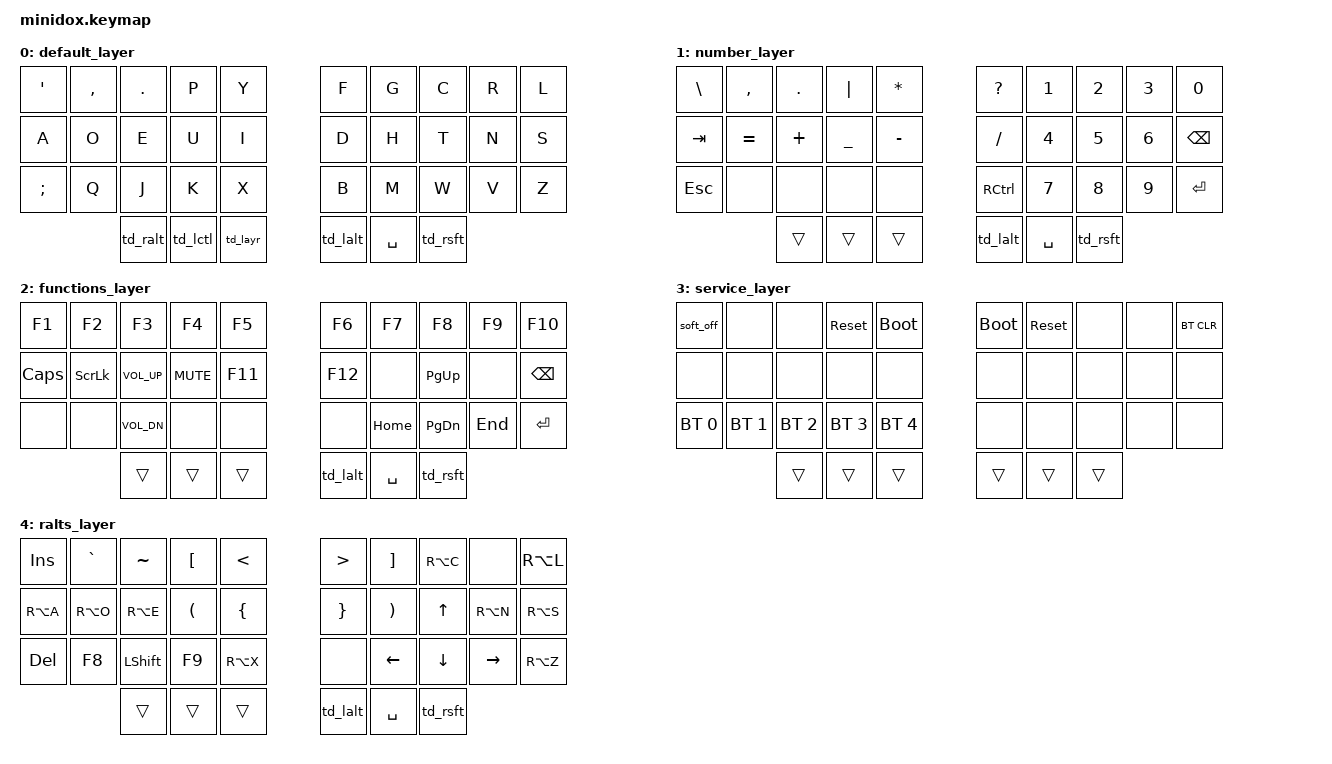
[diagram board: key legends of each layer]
/*
 * Copyright (c) 2025 pickme467
 *
 * SPDX-License-Identifier: MIT
 */

#include <behaviors.dtsi>
#include <dt-bindings/zmk/keys.h>
#include <dt-bindings/zmk/bt.h>

&soft_off {
        hold-time-ms = <200>;
};

/ {
        macros {
                lm: lm {
                   compatible = "zmk,behavior-macro-two-param";
                   wait-ms = <0>;
                   tap-ms = <0>;
                   #binding-cells = <2>;
                   bindings
                       = <&macro_param_1to1>
                       , <&macro_press &mo MACRO_PLACEHOLDER>
                       , <&macro_param_2to1>
                       , <&macro_press &kp MACRO_PLACEHOLDER>
                       , <&macro_pause_for_release>
                       , <&macro_param_2to1>
                       , <&macro_release &kp MACRO_PLACEHOLDER>
                       , <&macro_param_1to1>
                       , <&macro_release &mo MACRO_PLACEHOLDER>
                       ;
               };
        };

        behaviors {
                td_layr: tap_dance_0 {
                   compatible = "zmk,behavior-tap-dance";
                   #binding-cells = <0>;
                   tapping-term-ms = <277>;
                   bindings = <&mo 1>, <&mo 2>, <&mo 3>;
                };
                td_lctl: tap_dance_1 {
                   compatible = "zmk,behavior-tap-dance";
                   #binding-cells = <0>;
                   tapping-term-ms = <247>;
                   bindings = <&kp LCTL>, <&lm 1 LCTL>, <&lm 2 LCTL>, <&lm 3 LCTL>;
                };
                td_ralt: tap_dance_2 {
                   compatible = "zmk,behavior-tap-dance";
                   #binding-cells = <0>;
                   tapping-term-ms = <247>;
                   bindings = <&mo 4>, <&lm 4 LCTL>, <&kp LGUI>;
                };
                td_lalt: tap_dance_3 {
                   compatible = "zmk,behavior-tap-dance";
                   #binding-cells = <0>;
                   tapping-term-ms = <247>;
                   bindings = <&kp LALT>, <&kp LA(RSHFT)>, <&kp LA(LGUI)>;
                };
                td_rsft: tap_dance_4 {
                   compatible = "zmk,behavior-tap-dance";
                   #binding-cells = <0>;
                   tapping-term-ms = <247>;
                   bindings = <&kp RSHFT>, <&kp LGUI>, <&kp RS(LGUI)>, <&kp LA(RS(LGUI))>;
                };
        };

        keymap {
                compatible = "zmk,keymap";

                default_layer {
                        bindings = <
   &kp SQT  &kp COMMA &kp DOT  &kp P    &kp Y      &kp F    &kp G     &kp C &kp R &kp L
   &kp A    &kp O     &kp E    &kp U    &kp I      &kp D    &kp H     &kp T &kp N &kp S
   &kp SEMI &kp Q     &kp J    &kp K    &kp X      &kp B    &kp M     &kp W &kp V &kp Z
                      &td_ralt &td_lctl &td_layr   &td_lalt &kp SPACE &td_rsft
                        >;
                };
                number_layer {
                        bindings = <
   &kp BSLH &kp COMMA &kp DOT  &kp PIPE  &kp ASTRK      &kp QMARK &kp N1    &kp N2 &kp N3 &kp N0
   &kp TAB  &kp EQUAL &kp PLUS &kp UNDER &kp MINUS      &kp SLASH &kp N4    &kp N5 &kp N6 &kp BSPC
   &kp ESC  &none     &none    &none     &none          &kp RCTRL &kp N7    &kp N8 &kp N9 &kp RET
                      &trans   &trans    &trans         &td_lalt  &kp SPACE &td_rsft
                        >;
                };

                functions_layer {
                        bindings = <
   &kp F1   &kp F2   &kp F3       &kp F4     &kp F5        &kp F6   &kp F7    &kp F8    &kp F9  &kp F10
   &kp CAPS &kp SLCK &kp C_VOL_UP &kp C_MUTE &kp F11       &kp F12  &none     &kp PG_UP &none   &kp BSPC
   &none    &none    &kp C_VOL_DN &none      &none         &none    &kp HOME  &kp PG_DN &kp END &kp RET
                     &trans       &trans     &trans        &td_lalt &kp SPACE &td_rsft
                        >;
                };

                service_layer {
                        bindings = <
   &soft_off    &none        &none        &sys_reset   &bootloader    &bootloader &sys_reset &none  &none  &bt BT_CLR
   &none        &none        &none        &none        &none          &none       &none      &none  &none  &none
   &bt BT_SEL 0 &bt BT_SEL 1 &bt BT_SEL 2 &bt BT_SEL 3 &bt BT_SEL 4   &none       &none      &none  &none  &none
                             &trans       &trans       &trans         &trans      &trans     &trans
                        >;
                };

                ralts_layer {
                        bindings = <
   &kp INS   &kp GRAVE &kp TILDE &kp LBKT &kp LT      &kp GT   &kp RBKT  &kp RA(C) &none     &kp RA(L)
   &kp RA(A) &kp RA(O) &kp RA(E) &kp LPAR &kp LBRC    &kp RBRC &kp RPAR  &kp UP    &kp RA(N) &kp RA(S)
   &kp DEL   &kp F8    &kp LSHFT &kp F9   &kp RA(X)   &none    &kp LEFT  &kp DOWN  &kp RIGHT &kp RA(Z)
                       &trans    &trans   &trans      &td_lalt &kp SPACE &td_rsft
                        >;
                };
        };
};
